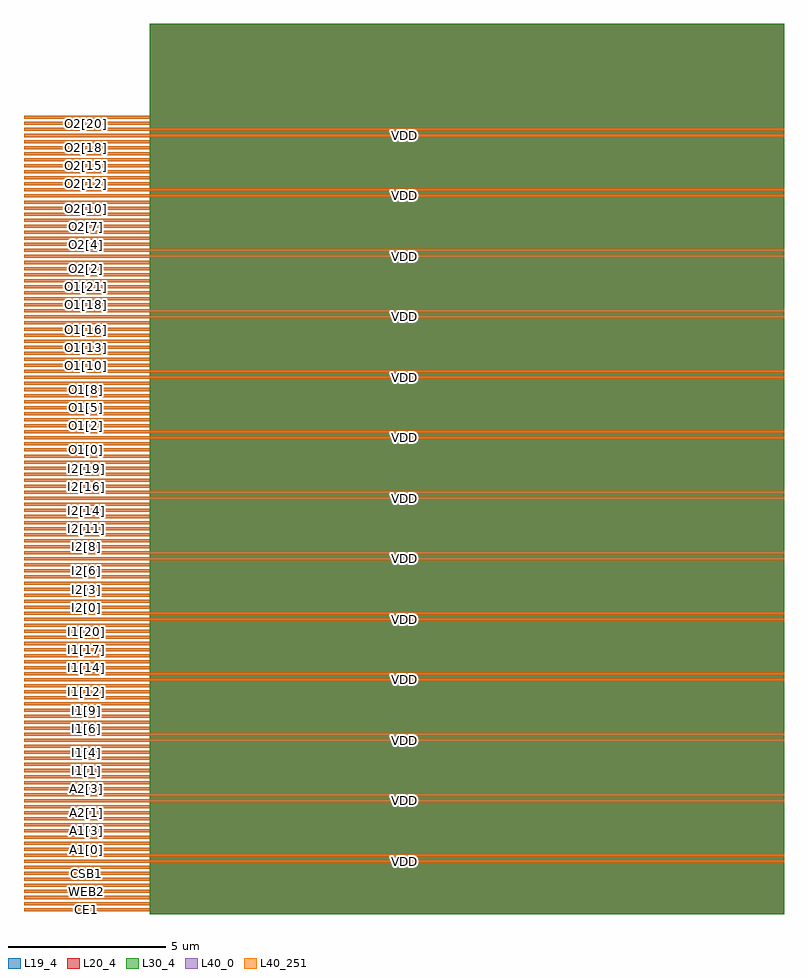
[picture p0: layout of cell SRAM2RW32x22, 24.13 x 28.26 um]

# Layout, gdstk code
import gdstk
lib = gdstk.Library(unit=1e-6, precision=1e-09)
def R(c, l, rs):  # rectangles x0, y0, x1, y1
    for r in rs: c.add(gdstk.rectangle(r[:2], r[2:], *l))
def A(c, l, x, y, w, h, nx, ny, dx, dy):  # array of equal rectangles
    R(c, l, [(x+i*dx, y+j*dy, x+i*dx+w, y+j*dy+h) for i in range(nx) for j in range(ny)])
L19_4 = (19, 4)
L20_4 = (20, 4)
L30_4 = (30, 4)
L40_0 = (40, 0)
L40_251 = (40, 251)

sram2rw32x22 = lib.new_cell('SRAM2RW32x22')
R(sram2rw32x22, L19_4, [(4,0,24.128,28.264)])
R(sram2rw32x22, L20_4, [(4,0,24.128,28.264)])
R(sram2rw32x22, L30_4, [(4,0,24.128,28.264)])
A(sram2rw32x22, L40_0, 0, 0.096, 4, 0.096, 1, 8, 0, 0.192)
A(sram2rw32x22, L40_0, 0, 2.016, 4, 0.096, 1, 8, 0, 0.192)
A(sram2rw32x22, L40_0, 0, 3.936, 4, 0.096, 1, 8, 0, 0.192)
A(sram2rw32x22, L40_0, 0, 5.856, 4, 0.096, 1, 8, 0, 0.192)
A(sram2rw32x22, L40_0, 0, 7.776, 4, 0.096, 1, 8, 0, 0.192)
A(sram2rw32x22, L40_0, 0, 9.696, 4, 0.096, 1, 8, 0, 0.192)
A(sram2rw32x22, L40_0, 0, 11.616, 4, 0.096, 1, 8, 0, 0.192)
A(sram2rw32x22, L40_0, 0, 13.536, 4, 0.096, 1, 8, 0, 0.192)
A(sram2rw32x22, L40_0, 0, 15.456, 4, 0.096, 1, 8, 0, 0.192)
A(sram2rw32x22, L40_0, 0, 17.376, 4, 0.096, 1, 8, 0, 0.192)
A(sram2rw32x22, L40_0, 0, 19.296, 4, 0.096, 1, 8, 0, 0.192)
A(sram2rw32x22, L40_0, 0, 21.216, 4, 0.096, 1, 8, 0, 0.192)
A(sram2rw32x22, L40_0, 0, 23.136, 4, 0.096, 1, 8, 0, 0.192)
R(sram2rw32x22, L40_0, [(0,1.632,24.128,1.728), (0,1.824,24.128,1.92), (0,3.552,24.128,3.648), (0,3.744,24.128,3.84), (0,5.472,24.128,5.568), (0,5.664,24.128,5.76), (0,7.392,24.128,7.488), (0,7.584,24.128,7.68), (0,9.312,24.128,9.408), (0,9.504,24.128,9.6), (0,11.232,24.128,11.328), (0,11.424,24.128,11.52), (0,13.152,24.128,13.248), (0,13.344,24.128,13.44), (0,15.072,24.128,15.168), (0,15.264,24.128,15.36), (0,16.992,24.128,17.088), (0,17.184,24.128,17.28), (0,18.912,24.128,19.008), (0,19.104,24.128,19.2), (0,20.832,24.128,20.928), (0,21.024,24.128,21.12), (0,22.752,24.128,22.848), (0,22.944,24.128,23.04), (0,24.672,24.128,24.768), (0,24.864,24.128,24.96), (0,25.056,4,25.152), (0,25.248,4,25.344)])
A(sram2rw32x22, L40_251, 0, 0.096, 4, 0.096, 1, 8, 0, 0.192)
A(sram2rw32x22, L40_251, 0, 2.016, 4, 0.096, 1, 8, 0, 0.192)
A(sram2rw32x22, L40_251, 0, 3.936, 4, 0.096, 1, 8, 0, 0.192)
A(sram2rw32x22, L40_251, 0, 5.856, 4, 0.096, 1, 8, 0, 0.192)
A(sram2rw32x22, L40_251, 0, 7.776, 4, 0.096, 1, 8, 0, 0.192)
A(sram2rw32x22, L40_251, 0, 9.696, 4, 0.096, 1, 8, 0, 0.192)
A(sram2rw32x22, L40_251, 0, 11.616, 4, 0.096, 1, 8, 0, 0.192)
A(sram2rw32x22, L40_251, 0, 13.536, 4, 0.096, 1, 8, 0, 0.192)
A(sram2rw32x22, L40_251, 0, 15.456, 4, 0.096, 1, 8, 0, 0.192)
A(sram2rw32x22, L40_251, 0, 17.376, 4, 0.096, 1, 8, 0, 0.192)
A(sram2rw32x22, L40_251, 0, 19.296, 4, 0.096, 1, 8, 0, 0.192)
A(sram2rw32x22, L40_251, 0, 21.216, 4, 0.096, 1, 8, 0, 0.192)
A(sram2rw32x22, L40_251, 0, 23.136, 4, 0.096, 1, 8, 0, 0.192)
R(sram2rw32x22, L40_251, [(0,1.632,24.128,1.728), (0,1.824,24.128,1.92), (0,3.552,24.128,3.648), (0,3.744,24.128,3.84), (0,5.472,24.128,5.568), (0,5.664,24.128,5.76), (0,7.392,24.128,7.488), (0,7.584,24.128,7.68), (0,9.312,24.128,9.408), (0,9.504,24.128,9.6), (0,11.232,24.128,11.328), (0,11.424,24.128,11.52), (0,13.152,24.128,13.248), (0,13.344,24.128,13.44), (0,15.072,24.128,15.168), (0,15.264,24.128,15.36), (0,16.992,24.128,17.088), (0,17.184,24.128,17.28), (0,18.912,24.128,19.008), (0,19.104,24.128,19.2), (0,20.832,24.128,20.928), (0,21.024,24.128,21.12), (0,22.752,24.128,22.848), (0,22.944,24.128,23.04), (0,24.672,24.128,24.768), (0,24.864,24.128,24.96), (0,25.056,4,25.152), (0,25.248,4,25.344)])
sram2rw32x22.add(gdstk.Label('CE1', (2,0.144), layer=40, texttype=0))
sram2rw32x22.add(gdstk.Label('CE2', (2,0.336), layer=40, texttype=0))
sram2rw32x22.add(gdstk.Label('WEB1', (2,0.528), layer=40, texttype=0))
sram2rw32x22.add(gdstk.Label('WEB2', (2,0.72), layer=40, texttype=0))
sram2rw32x22.add(gdstk.Label('OEB1', (2,0.912), layer=40, texttype=0))
sram2rw32x22.add(gdstk.Label('OEB2', (2,1.104), layer=40, texttype=0))
sram2rw32x22.add(gdstk.Label('CSB1', (2,1.296), layer=40, texttype=0))
sram2rw32x22.add(gdstk.Label('CSB2', (2,1.488), layer=40, texttype=0))
sram2rw32x22.add(gdstk.Label('A1[0]', (2,2.064), layer=40, texttype=0))
sram2rw32x22.add(gdstk.Label('A1[1]', (2,2.256), layer=40, texttype=0))
sram2rw32x22.add(gdstk.Label('A1[2]', (2,2.448), layer=40, texttype=0))
sram2rw32x22.add(gdstk.Label('A1[3]', (2,2.64), layer=40, texttype=0))
sram2rw32x22.add(gdstk.Label('A1[4]', (2,2.832), layer=40, texttype=0))
sram2rw32x22.add(gdstk.Label('A2[0]', (2,3.024), layer=40, texttype=0))
sram2rw32x22.add(gdstk.Label('A2[1]', (2,3.216), layer=40, texttype=0))
sram2rw32x22.add(gdstk.Label('A2[2]', (2,3.408), layer=40, texttype=0))
sram2rw32x22.add(gdstk.Label('A2[3]', (2,3.984), layer=40, texttype=0))
sram2rw32x22.add(gdstk.Label('A2[4]', (2,4.176), layer=40, texttype=0))
sram2rw32x22.add(gdstk.Label('I1[0]', (2,4.368), layer=40, texttype=0))
sram2rw32x22.add(gdstk.Label('I1[1]', (2,4.56), layer=40, texttype=0))
sram2rw32x22.add(gdstk.Label('I1[2]', (2,4.752), layer=40, texttype=0))
sram2rw32x22.add(gdstk.Label('I1[3]', (2,4.944), layer=40, texttype=0))
sram2rw32x22.add(gdstk.Label('I1[4]', (2,5.136), layer=40, texttype=0))
sram2rw32x22.add(gdstk.Label('I1[5]', (2,5.328), layer=40, texttype=0))
sram2rw32x22.add(gdstk.Label('I1[6]', (2,5.904), layer=40, texttype=0))
sram2rw32x22.add(gdstk.Label('I1[7]', (2,6.096), layer=40, texttype=0))
sram2rw32x22.add(gdstk.Label('I1[8]', (2,6.288), layer=40, texttype=0))
sram2rw32x22.add(gdstk.Label('I1[9]', (2,6.48), layer=40, texttype=0))
sram2rw32x22.add(gdstk.Label('I1[10]', (2,6.672), layer=40, texttype=0))
sram2rw32x22.add(gdstk.Label('I1[11]', (2,6.864), layer=40, texttype=0))
sram2rw32x22.add(gdstk.Label('I1[12]', (2,7.056), layer=40, texttype=0))
sram2rw32x22.add(gdstk.Label('I1[13]', (2,7.248), layer=40, texttype=0))
sram2rw32x22.add(gdstk.Label('I1[14]', (2,7.824), layer=40, texttype=0))
sram2rw32x22.add(gdstk.Label('I1[15]', (2,8.016), layer=40, texttype=0))
sram2rw32x22.add(gdstk.Label('I1[16]', (2,8.208), layer=40, texttype=0))
sram2rw32x22.add(gdstk.Label('I1[17]', (2,8.4), layer=40, texttype=0))
sram2rw32x22.add(gdstk.Label('I1[18]', (2,8.592), layer=40, texttype=0))
sram2rw32x22.add(gdstk.Label('I1[19]', (2,8.784), layer=40, texttype=0))
sram2rw32x22.add(gdstk.Label('I1[20]', (2,8.976), layer=40, texttype=0))
sram2rw32x22.add(gdstk.Label('I1[21]', (2,9.168), layer=40, texttype=0))
sram2rw32x22.add(gdstk.Label('I2[0]', (2,9.744), layer=40, texttype=0))
sram2rw32x22.add(gdstk.Label('I2[1]', (2,9.936), layer=40, texttype=0))
sram2rw32x22.add(gdstk.Label('I2[2]', (2,10.128), layer=40, texttype=0))
sram2rw32x22.add(gdstk.Label('I2[3]', (2,10.32), layer=40, texttype=0))
sram2rw32x22.add(gdstk.Label('I2[4]', (2,10.512), layer=40, texttype=0))
sram2rw32x22.add(gdstk.Label('I2[5]', (2,10.704), layer=40, texttype=0))
sram2rw32x22.add(gdstk.Label('I2[6]', (2,10.896), layer=40, texttype=0))
sram2rw32x22.add(gdstk.Label('I2[7]', (2,11.088), layer=40, texttype=0))
sram2rw32x22.add(gdstk.Label('I2[8]', (2,11.664), layer=40, texttype=0))
sram2rw32x22.add(gdstk.Label('I2[9]', (2,11.856), layer=40, texttype=0))
sram2rw32x22.add(gdstk.Label('I2[10]', (2,12.048), layer=40, texttype=0))
sram2rw32x22.add(gdstk.Label('I2[11]', (2,12.24), layer=40, texttype=0))
sram2rw32x22.add(gdstk.Label('I2[12]', (2,12.432), layer=40, texttype=0))
sram2rw32x22.add(gdstk.Label('I2[13]', (2,12.624), layer=40, texttype=0))
sram2rw32x22.add(gdstk.Label('I2[14]', (2,12.816), layer=40, texttype=0))
sram2rw32x22.add(gdstk.Label('I2[15]', (2,13.008), layer=40, texttype=0))
sram2rw32x22.add(gdstk.Label('I2[16]', (2,13.584), layer=40, texttype=0))
sram2rw32x22.add(gdstk.Label('I2[17]', (2,13.776), layer=40, texttype=0))
sram2rw32x22.add(gdstk.Label('I2[18]', (2,13.968), layer=40, texttype=0))
sram2rw32x22.add(gdstk.Label('I2[19]', (2,14.16), layer=40, texttype=0))
sram2rw32x22.add(gdstk.Label('I2[20]', (2,14.352), layer=40, texttype=0))
sram2rw32x22.add(gdstk.Label('I2[21]', (2,14.544), layer=40, texttype=0))
sram2rw32x22.add(gdstk.Label('O1[0]', (2,14.736), layer=40, texttype=0))
sram2rw32x22.add(gdstk.Label('O1[1]', (2,14.928), layer=40, texttype=0))
sram2rw32x22.add(gdstk.Label('O1[2]', (2,15.504), layer=40, texttype=0))
sram2rw32x22.add(gdstk.Label('O1[3]', (2,15.696), layer=40, texttype=0))
sram2rw32x22.add(gdstk.Label('O1[4]', (2,15.888), layer=40, texttype=0))
sram2rw32x22.add(gdstk.Label('O1[5]', (2,16.08), layer=40, texttype=0))
sram2rw32x22.add(gdstk.Label('O1[6]', (2,16.272), layer=40, texttype=0))
sram2rw32x22.add(gdstk.Label('O1[7]', (2,16.464), layer=40, texttype=0))
sram2rw32x22.add(gdstk.Label('O1[8]', (2,16.656), layer=40, texttype=0))
sram2rw32x22.add(gdstk.Label('O1[9]', (2,16.848), layer=40, texttype=0))
sram2rw32x22.add(gdstk.Label('O1[10]', (2,17.424), layer=40, texttype=0))
sram2rw32x22.add(gdstk.Label('O1[11]', (2,17.616), layer=40, texttype=0))
sram2rw32x22.add(gdstk.Label('O1[12]', (2,17.808), layer=40, texttype=0))
sram2rw32x22.add(gdstk.Label('O1[13]', (2,18), layer=40, texttype=0))
sram2rw32x22.add(gdstk.Label('O1[14]', (2,18.192), layer=40, texttype=0))
sram2rw32x22.add(gdstk.Label('O1[15]', (2,18.384), layer=40, texttype=0))
sram2rw32x22.add(gdstk.Label('O1[16]', (2,18.576), layer=40, texttype=0))
sram2rw32x22.add(gdstk.Label('O1[17]', (2,18.768), layer=40, texttype=0))
sram2rw32x22.add(gdstk.Label('O1[18]', (2,19.344), layer=40, texttype=0))
sram2rw32x22.add(gdstk.Label('O1[19]', (2,19.536), layer=40, texttype=0))
sram2rw32x22.add(gdstk.Label('O1[20]', (2,19.728), layer=40, texttype=0))
sram2rw32x22.add(gdstk.Label('O1[21]', (2,19.92), layer=40, texttype=0))
sram2rw32x22.add(gdstk.Label('O2[0]', (2,20.112), layer=40, texttype=0))
sram2rw32x22.add(gdstk.Label('O2[1]', (2,20.304), layer=40, texttype=0))
sram2rw32x22.add(gdstk.Label('O2[2]', (2,20.496), layer=40, texttype=0))
sram2rw32x22.add(gdstk.Label('O2[3]', (2,20.688), layer=40, texttype=0))
sram2rw32x22.add(gdstk.Label('O2[4]', (2,21.264), layer=40, texttype=0))
sram2rw32x22.add(gdstk.Label('O2[5]', (2,21.456), layer=40, texttype=0))
sram2rw32x22.add(gdstk.Label('O2[6]', (2,21.648), layer=40, texttype=0))
sram2rw32x22.add(gdstk.Label('O2[7]', (2,21.84), layer=40, texttype=0))
sram2rw32x22.add(gdstk.Label('O2[8]', (2,22.032), layer=40, texttype=0))
sram2rw32x22.add(gdstk.Label('O2[9]', (2,22.224), layer=40, texttype=0))
sram2rw32x22.add(gdstk.Label('O2[10]', (2,22.416), layer=40, texttype=0))
sram2rw32x22.add(gdstk.Label('O2[11]', (2,22.608), layer=40, texttype=0))
sram2rw32x22.add(gdstk.Label('O2[12]', (2,23.184), layer=40, texttype=0))
sram2rw32x22.add(gdstk.Label('O2[13]', (2,23.376), layer=40, texttype=0))
sram2rw32x22.add(gdstk.Label('O2[14]', (2,23.568), layer=40, texttype=0))
sram2rw32x22.add(gdstk.Label('O2[15]', (2,23.76), layer=40, texttype=0))
sram2rw32x22.add(gdstk.Label('O2[16]', (2,23.952), layer=40, texttype=0))
sram2rw32x22.add(gdstk.Label('O2[17]', (2,24.144), layer=40, texttype=0))
sram2rw32x22.add(gdstk.Label('O2[18]', (2,24.336), layer=40, texttype=0))
sram2rw32x22.add(gdstk.Label('O2[19]', (2,24.528), layer=40, texttype=0))
sram2rw32x22.add(gdstk.Label('O2[20]', (2,25.104), layer=40, texttype=0))
sram2rw32x22.add(gdstk.Label('O2[21]', (2,25.296), layer=40, texttype=0))
sram2rw32x22.add(gdstk.Label('VDD', (12.064,1.68), layer=40, texttype=0))
sram2rw32x22.add(gdstk.Label('VDD', (12.064,3.6), layer=40, texttype=0))
sram2rw32x22.add(gdstk.Label('VDD', (12.064,5.52), layer=40, texttype=0))
sram2rw32x22.add(gdstk.Label('VDD', (12.064,7.44), layer=40, texttype=0))
sram2rw32x22.add(gdstk.Label('VDD', (12.064,9.36), layer=40, texttype=0))
sram2rw32x22.add(gdstk.Label('VDD', (12.064,11.28), layer=40, texttype=0))
sram2rw32x22.add(gdstk.Label('VDD', (12.064,13.2), layer=40, texttype=0))
sram2rw32x22.add(gdstk.Label('VDD', (12.064,15.12), layer=40, texttype=0))
sram2rw32x22.add(gdstk.Label('VDD', (12.064,17.04), layer=40, texttype=0))
sram2rw32x22.add(gdstk.Label('VDD', (12.064,18.96), layer=40, texttype=0))
sram2rw32x22.add(gdstk.Label('VDD', (12.064,20.88), layer=40, texttype=0))
sram2rw32x22.add(gdstk.Label('VDD', (12.064,22.8), layer=40, texttype=0))
sram2rw32x22.add(gdstk.Label('VDD', (12.064,24.72), layer=40, texttype=0))
sram2rw32x22.add(gdstk.Label('VSS', (12.064,1.872), layer=40, texttype=0))
sram2rw32x22.add(gdstk.Label('VSS', (12.064,3.792), layer=40, texttype=0))
sram2rw32x22.add(gdstk.Label('VSS', (12.064,5.712), layer=40, texttype=0))
sram2rw32x22.add(gdstk.Label('VSS', (12.064,7.632), layer=40, texttype=0))
sram2rw32x22.add(gdstk.Label('VSS', (12.064,9.552), layer=40, texttype=0))
sram2rw32x22.add(gdstk.Label('VSS', (12.064,11.472), layer=40, texttype=0))
sram2rw32x22.add(gdstk.Label('VSS', (12.064,13.392), layer=40, texttype=0))
sram2rw32x22.add(gdstk.Label('VSS', (12.064,15.312), layer=40, texttype=0))
sram2rw32x22.add(gdstk.Label('VSS', (12.064,17.232), layer=40, texttype=0))
sram2rw32x22.add(gdstk.Label('VSS', (12.064,19.152), layer=40, texttype=0))
sram2rw32x22.add(gdstk.Label('VSS', (12.064,21.072), layer=40, texttype=0))
sram2rw32x22.add(gdstk.Label('VSS', (12.064,22.992), layer=40, texttype=0))
sram2rw32x22.add(gdstk.Label('VSS', (12.064,24.912), layer=40, texttype=0))

lib.write_gds('SRAM2RW32x22.gds')
